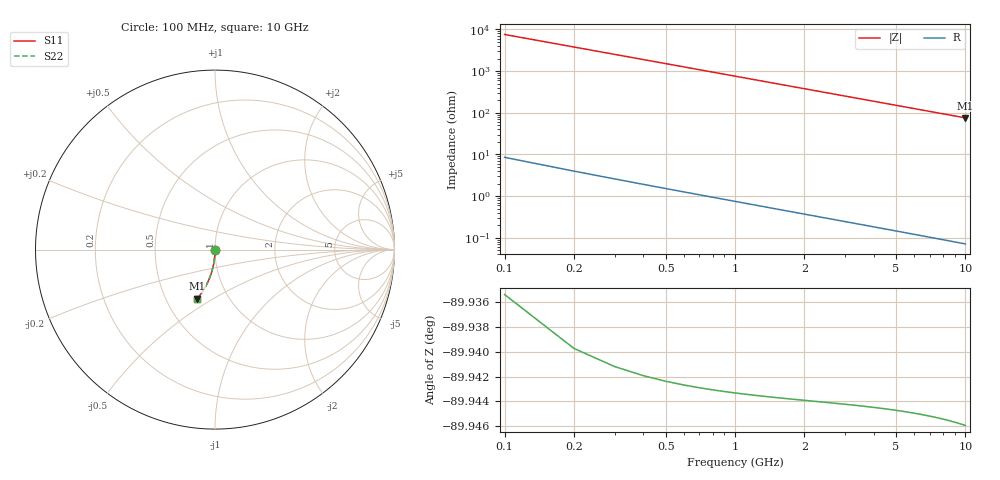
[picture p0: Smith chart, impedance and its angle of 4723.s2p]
# Hz S RI R 50.00
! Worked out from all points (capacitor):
!   100 points, 100 MHz to 10 GHz, reference 50 ohm
!   read as one part in shunt: C = 210 fF near 100 MHz
!   lowest |Z| = 75.6 ohm at 10 GHz (marker M1)
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1e8  0.000104 -0.00305  0.9999 -0.00356  0.9999 -0.00356  0.000104 -0.00305
2e8  6.9e-05 -0.00609  0.9998 -0.00711  0.9998 -0.00711  6.9e-05 -0.00609
3e8  1.22e-05 -0.00914  0.9998 -0.0107  0.9998 -0.0107  1.22e-05 -0.00914
4e8  -6.64e-05 -0.0122  0.9997 -0.0142  0.9997 -0.0142  -6.64e-05 -0.0122
5e8  -0.000167 -0.0152  0.9996 -0.0178  0.9996 -0.0178  -0.000167 -0.0152
6e8  -0.000289 -0.0183  0.9995 -0.0213  0.9995 -0.0213  -0.000289 -0.0183
7e8  -0.000433 -0.0213  0.9993 -0.0249  0.9993 -0.0249  -0.000433 -0.0213
8e8  -0.000598 -0.0244  0.9991 -0.0284  0.9991 -0.0284  -0.000598 -0.0244
9e8  -0.000785 -0.0274  0.999 -0.032  0.999 -0.032  -0.000785 -0.0274
1.1e9  -0.00122 -0.0335  0.9985 -0.0391  0.9985 -0.0391  -0.00122 -0.0335
1.4e9  -0.00204 -0.0426  0.9977 -0.0497  0.9977 -0.0497  -0.00204 -0.0426
1.8e9  -0.00344 -0.0547  0.9963 -0.0639  0.9963 -0.0639  -0.00344 -0.0547
2.1e9  -0.00471 -0.0637  0.995 -0.0744  0.995 -0.0744  -0.00471 -0.0637
2.5e9  -0.0067 -0.0757  0.993 -0.0885  0.993 -0.0885  -0.0067 -0.0757
2.9e9  -0.00903 -0.0876  0.9906 -0.1024  0.9906 -0.1024  -0.00903 -0.0876
3.4e9  -0.0124 -0.1024  0.9872 -0.1198  0.9872 -0.1198  -0.0124 -0.1024
4.2e9  -0.0189 -0.1257  0.9806 -0.1472  0.9806 -0.1472  -0.0189 -0.1257
5.1e9  -0.0276 -0.1513  0.9718 -0.1774  0.9718 -0.1774  -0.0276 -0.1513
5.9e9  -0.0367 -0.1734  0.9626 -0.2036  0.9626 -0.2036  -0.0367 -0.1734
6.7e9  -0.0469 -0.1948  0.9522 -0.2291  0.9522 -0.2291  -0.0469 -0.1948
8.4e9  -0.0721 -0.2376  0.9266 -0.2808  0.9266 -0.2808  -0.0721 -0.2376
1e10  -0.0996 -0.2743  0.8988 -0.3259  0.8988 -0.3259  -0.0996 -0.2743
